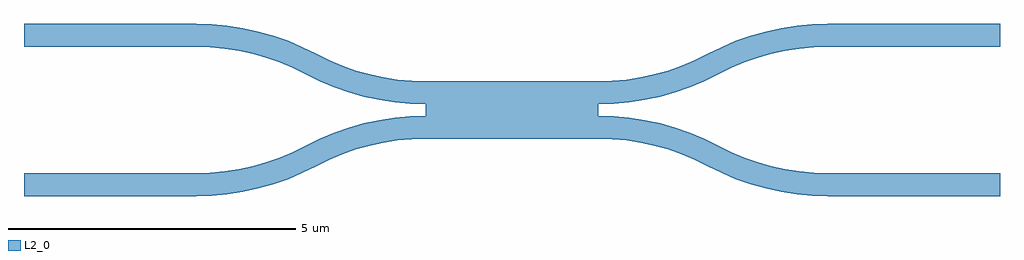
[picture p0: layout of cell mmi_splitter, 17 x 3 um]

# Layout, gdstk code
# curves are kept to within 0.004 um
import gdstk
lib = gdstk.Library(unit=1e-6, precision=1e-09)
def R(c, l, rs):  # rectangles x0, y0, x1, y1
    for r in rs: c.add(gdstk.rectangle(r[:2], r[2:], *l))
def P(c, l, *ps):  # polygons
    for p in ps: c.add(gdstk.Polygon(p, *l))
L2_0 = (2, 0)

parametric_mmi_t4wkadyxf = lib.new_cell('parametric_mmi_T4WKADYXFJQHKTTCDLGNN6EFGXLZ5NV7LRHMFFDOGIGMDFTN6XUQ')
R(parametric_mmi_t4wkadyxf, L2_0, [(-1.5,-0.5,1.5,0.5)])

s_bend_kkywasutqcfzhkdlw = lib.new_cell('s_bend_KKYWASUTQCFZHKDLWVCUM74CBVFBHA4HTTYVQAVR43WVWOPNDYAQ')
P(s_bend_kkywasutqcfzhkdlw, L2_0, [(0,-0.2),(0.272,-0.192),(0.544,-0.167),(0.813,-0.125),(1.079,-0.067),(1.342,0.007),(1.599,0.097),(1.85,0.203),(2.316,0.433),(2.545,0.53),(2.779,0.612),(3.018,0.679),(3.26,0.732),(3.505,0.77),(3.752,0.792),(4,0.8),(4,1.2),(3.728,1.192),(3.456,1.167),(3.187,1.125),(2.921,1.067),(2.659,0.993),(2.401,0.903),(2.15,0.797),(1.684,0.567),(1.455,0.47),(1.221,0.388),(0.982,0.321),(0.74,0.268),(0.495,0.23),(0.248,0.208),(0,0.2)])

straight_m3yfgaz6wai3cwq = lib.new_cell('straight_M3YFGAZ6WAI3CWQ5H2JZBSA2UFO7F4IBP6A7UABNBYTF2VF4NFDA')
R(straight_m3yfgaz6wai3cwq, L2_0, [(0,-0.2,3,0.2)])

mmi_splitter = lib.new_cell('mmi_splitter')
mmi_splitter.add(gdstk.Reference(parametric_mmi_t4wkadyxf, (0,0)))
mmi_splitter.add(gdstk.Reference(s_bend_kkywasutqcfzhkdlw, (1.5,0.3)))
mmi_splitter.add(gdstk.Reference(s_bend_kkywasutqcfzhkdlw, (1.5,-0.3), x_reflection=True))
mmi_splitter.add(gdstk.Reference(s_bend_kkywasutqcfzhkdlw, (-5.5,1.3), x_reflection=True))
mmi_splitter.add(gdstk.Reference(s_bend_kkywasutqcfzhkdlw, (-5.5,-1.3)))
mmi_splitter.add(gdstk.Reference(straight_m3yfgaz6wai3cwq, (-8.5,1.3)))
mmi_splitter.add(gdstk.Reference(straight_m3yfgaz6wai3cwq, (-8.5,-1.3)))
mmi_splitter.add(gdstk.Reference(straight_m3yfgaz6wai3cwq, (5.5,1.3)))
mmi_splitter.add(gdstk.Reference(straight_m3yfgaz6wai3cwq, (5.5,-1.3)))

lib.write_gds('mmi_splitter.gds')
